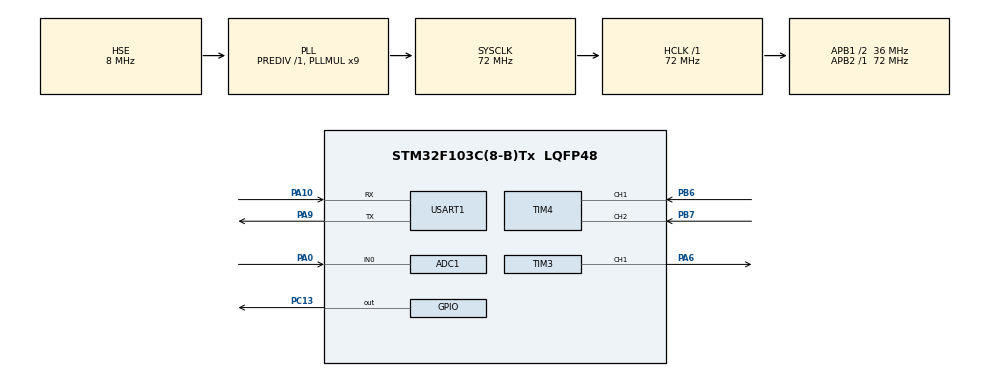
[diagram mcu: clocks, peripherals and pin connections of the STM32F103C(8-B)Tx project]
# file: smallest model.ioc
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ADC1.Channel-0\#ChannelRegularConversion=ADC_CHANNEL_0
ADC1.NbrOfConversionFlag=1
ADC1.Rank-0\#ChannelRegularConversion=1
ADC1.SamplingTime-0\#ChannelRegularConversion=ADC_SAMPLETIME_1CYCLE_5
ADC1.master=1
Mcu.Family=STM32F1
Mcu.Name=STM32F103C(8-B)Tx
Mcu.Package=LQFP48
NVIC.PriorityGroup=NVIC_PRIORITYGROUP_4
NVIC.TIM2_IRQn=true\:0\:0\:false\:false\:true\:true\:true\:true
PA0-WKUP.Signal=ADCx_IN0
PA10.Mode=Asynchronous
PA10.Signal=USART1_RX
PA13.Mode=Serial_Wire
PA13.Signal=SYS_JTMS-SWDIO
PA14.Mode=Serial_Wire
PA14.Signal=SYS_JTCK-SWCLK
PA6.Signal=S_TIM3_CH1
PA9.Mode=Asynchronous
PA9.Signal=USART1_TX
PB6.Signal=S_TIM4_CH1
PB7.Signal=S_TIM4_CH2
PC13-TAMPER-RTC.GPIO_ModeDefaultOutputPP=GPIO_MODE_OUTPUT_PP
PC13-TAMPER-RTC.GPIO_PuPd=GPIO_NOPULL
PC13-TAMPER-RTC.PinState=GPIO_PIN_SET
PC13-TAMPER-RTC.Signal=GPIO_Output
PD0-OSC_IN.Mode=HSE-External-Oscillator
PD0-OSC_IN.Signal=RCC_OSC_IN
PD1-OSC_OUT.Mode=HSE-External-Oscillator
PD1-OSC_OUT.Signal=RCC_OSC_OUT
ProjectManager.HeapSize=0x200
ProjectManager.StackSize=0x400
ProjectManager.TargetToolchain=MDK-ARM V5.32
RCC.ADCPresc=RCC_ADCPCLK2_DIV6
RCC.AHBFreq_Value=72000000
RCC.APB1CLKDivider=RCC_HCLK_DIV2
RCC.APB1Freq_Value=36000000
RCC.APB1TimFreq_Value=72000000
RCC.APB2Freq_Value=72000000
RCC.APB2TimFreq_Value=72000000
RCC.HCLKFreq_Value=72000000
RCC.PLLMUL=RCC_PLL_MUL9
RCC.PLLSourceVirtual=RCC_PLLSOURCE_HSE
RCC.SYSCLKFreq_VALUE=72000000
RCC.SYSCLKSource=RCC_SYSCLKSOURCE_PLLCLK
RCC.USBFreq_Value=72000000
SH.ADCx_IN0.0=ADC1_IN0,IN0
SH.S_TIM3_CH1.0=TIM3_CH1,PWM Generation1 CH1
SH.S_TIM4_CH1.0=TIM4_CH1,Encoder_Interface
SH.S_TIM4_CH2.0=TIM4_CH2,Encoder_Interface
TIM2.Period=9999
TIM2.Prescaler=71
TIM3.Channel-PWM\ Generation1\ CH1=TIM_CHANNEL_1
TIM3.Period=999
TIM3.Prescaler=71
TIM4.EncoderMode=TIM_ENCODERMODE_TI12
USART1.VirtualMode=VM_ASYNC
VP_TIM2_VS_ClockSourceINT.Mode=Internal
VP_TIM3_VS_ClockSourceINT.Mode=Internal
board=custom

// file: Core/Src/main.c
/* USER CODE BEGIN Header */
/**
  ******************************************************************************
  * @file           : main.c
  * @brief          : Main program body
  ******************************************************************************
  * @attention
  *
  * Copyright (c) 2026 STMicroelectronics.
  * All rights reserved.
  *
  * This software is licensed under terms that can be found in the LICENSE file
  * in the root directory of this software component.
  * If no LICENSE file comes with this software, it is provided AS-IS.
  *
  ******************************************************************************
  */
/* USER CODE END Header */
#include "main.h"
#include "adc.h"
#include "tim.h"
#include "usart.h"
#include "gpio.h"

/* USER CODE BEGIN Includes */
#include <stdio.h>

/* USER CODE END Includes */

/* USER CODE BEGIN PV */
uint16_t ccr = 0;
int8_t dir = 1;
 volatile uint32_t cap1 = 0, cap2 = 0;  //两次捕获值
 volatile uint8_t cap_cnt = 0;      // 0=等第一个沿， 1=等第二个沿
 volatile uint32_t period_us = 0;   //测到的周期（微秒）
 volatile uint8_t period_ready = 0;  //有新结果了
/* USER CODE END PV */

void SystemClock_Config(void);

int main(void)
{

  /* MCU Configuration--------------------------------------------------------*/

  /* Reset of all peripherals, Initializes the Flash interface and the Systick. */
  HAL_Init();

  /* Configure the system clock */
  SystemClock_Config();

  /* Initialize all configured peripherals */
  MX_GPIO_Init();
  MX_ADC1_Init();
  MX_USART1_UART_Init();
  MX_TIM2_Init();
  MX_TIM3_Init();
  MX_TIM4_Init();
  /* USER CODE BEGIN 2 */
HAL_TIM_Base_Start_IT(&htim2);
HAL_TIM_PWM_Start(&htim3, TIM_CHANNEL_1);
HAL_TIM_IC_Start_IT(&htim4, TIM_CHANNEL_1 );//启动输入捕获

__HAL_TIM_SET_COUNTER(&htim4 , 0);
HAL_TIM_Encoder_Start(&htim4, TIM_CHANNEL_ALL);

  /* USER CODE END 2 */

  /* Infinite loop */
  while (1)
  {

    /* USER CODE BEGIN 3 */
		if(period_ready)
		{
		   period_ready = 0;
			 if(period_us > 0)
				{
	        printf("period = %lu us, freq = %lu Hz\r\n",
					        period_us, 1000000UL/ period_us );
			  }
		}

	static uint32_t last_t = 0;
	static int16_t last_cnt = 0;
	int16_t now_cnt;
	int32_t delta;

	if(HAL_GetTick()-last_t >= 500)
	{
	  last_t = HAL_GetTick();

		now_cnt = (int16_t)__HAL_TIM_GET_COUNTER(&htim4);
		delta = (int32_t)now_cnt - last_cnt;
		last_cnt = now_cnt;

		printf("cnt =%d  speed = %ld\r\n", now_cnt, delta);
	}
}
  /* USER CODE END 3 */
}

void SystemClock_Config(void)
{
  RCC_OscInitTypeDef RCC_OscInitStruct = {0};
  RCC_ClkInitTypeDef RCC_ClkInitStruct = {0};
  RCC_PeriphCLKInitTypeDef PeriphClkInit = {0};

  /** Initializes the RCC Oscillators according to the specified parameters
  * in the RCC_OscInitTypeDef structure.
  */
  RCC_OscInitStruct.OscillatorType = RCC_OSCILLATORTYPE_HSE;
  RCC_OscInitStruct.HSEState = RCC_HSE_ON;
  RCC_OscInitStruct.HSEPredivValue = RCC_HSE_PREDIV_DIV1;
  RCC_OscInitStruct.HSIState = RCC_HSI_ON;
  RCC_OscInitStruct.PLL.PLLState = RCC_PLL_ON;
  RCC_OscInitStruct.PLL.PLLSource = RCC_PLLSOURCE_HSE;
  RCC_OscInitStruct.PLL.PLLMUL = RCC_PLL_MUL9;
  if (HAL_RCC_OscConfig(&RCC_OscInitStruct) != HAL_OK)
  {
    Error_Handler();
  }

  /** Initializes the CPU, AHB and APB buses clocks
  */
  RCC_ClkInitStruct.ClockType = RCC_CLOCKTYPE_HCLK|RCC_CLOCKTYPE_SYSCLK
                              |RCC_CLOCKTYPE_PCLK1|RCC_CLOCKTYPE_PCLK2;
  RCC_ClkInitStruct.SYSCLKSource = RCC_SYSCLKSOURCE_PLLCLK;
  RCC_ClkInitStruct.AHBCLKDivider = RCC_SYSCLK_DIV1;
  RCC_ClkInitStruct.APB1CLKDivider = RCC_HCLK_DIV2;
  RCC_ClkInitStruct.APB2CLKDivider = RCC_HCLK_DIV1;

  if (HAL_RCC_ClockConfig(&RCC_ClkInitStruct, FLASH_LATENCY_2) != HAL_OK)
  {
    Error_Handler();
  }
  PeriphClkInit.PeriphClockSelection = RCC_PERIPHCLK_ADC;
  PeriphClkInit.AdcClockSelection = RCC_ADCPCLK2_DIV6;
  if (HAL_RCCEx_PeriphCLKConfig(&PeriphClkInit) != HAL_OK)
  {
    Error_Handler();
  }
}

/* USER CODE BEGIN 4 */
void HAL_TIM_PeriodElapsedCallback(TIM_HandleTypeDef *htim)
{
    if (dir == 1)
		{
		  if(ccr + 10 < 1000)
		  {
			  ccr = ccr + 10;
			}
			else{
			  ccr = 1000;
				dir = -1;
			}
		}
		else{
		   if(ccr >= 10 )
			 {
			   ccr = ccr - 10;
			 }
			 else{
			   ccr = 0;
				 dir = 1;
			 }
		}
		__HAL_TIM_SET_COMPARE(&htim3,TIM_CHANNEL_1,ccr);
}

void HAL_TIM_IC_CaptureCallback(TIM_HandleTypeDef *htim)
{
  uint32_t v;
	if(htim->Instance != TIM4) return;
	if(htim->Channel != HAL_TIM_ACTIVE_CHANNEL_1) return;

	v = HAL_TIM_ReadCapturedValue(htim, TIM_CHANNEL_1);

	if(cap_cnt == 0)
	{
	  cap1 = v;
		cap_cnt = 1;
	}
	else{
	cap2 = v;
		cap_cnt = 0;

		if(cap2 >= cap1) period_us = cap2 - cap1;
		else period_us = 65536UL + cap2 - cap1;

		period_ready = 1;
	}
}
/* USER CODE END 4 */

void Error_Handler(void)
{
  __disable_irq();
  while (1)
  {
  }
}
